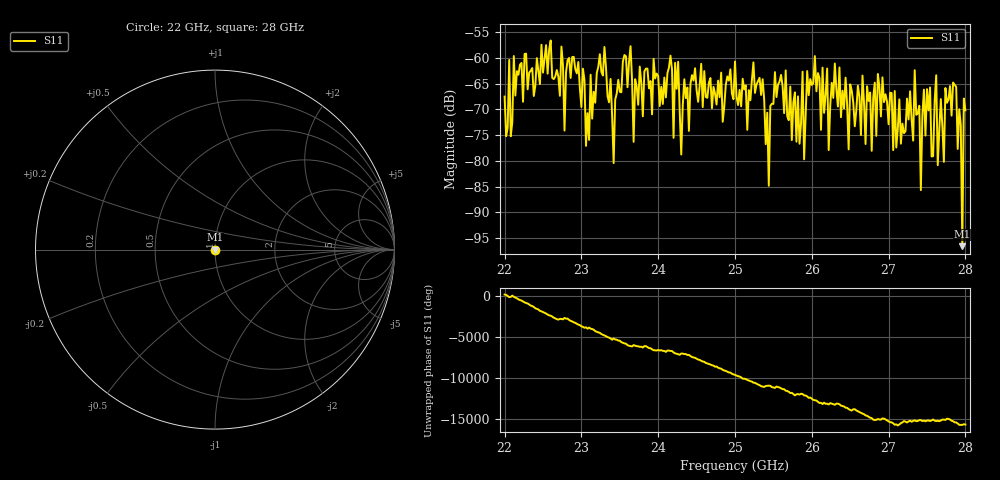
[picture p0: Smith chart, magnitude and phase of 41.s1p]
#  HZ  S  RI  R  50.00
! Rohde & Schwarz ZVA40 4Ports - Version 3.90 - 1145.1110k42 SN: 100403
! Date: 2023-10-04 07:57:09
! Measurement: S12
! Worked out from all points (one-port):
!   301 points, 22 GHz to 28 GHz, reference 50 ohm
!   lowest |S11| = -96.5 dB at 27.96 GHz (marker M1), VSWR 1.00, Z = 50 + j0.00125 ohm
!   |S11| at or under -10 dB: start of sweep to end of sweep
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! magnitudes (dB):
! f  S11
! 22 GHz  -67.5
! 22.76 GHz  -61.5
! 22.78 GHz  -74.1
! 23.02 GHz  -62.1
! 23.06 GHz  -77.1
! 23.3 GHz  -57.9
! 23.42 GHz  -80.4
! 23.5 GHz  -66.6
! 24.16 GHz  -59.6
! 24.2 GHz  -75.5
! 24.26 GHz  -60.8
! 24.3 GHz  -78.7
! 24.34 GHz  -64.1
! 25 GHz  -60.7
! 25.44 GHz  -84.8
! 25.52 GHz  -62.8
! 25.76 GHz  -68.6
! 26.3 GHz  -61.1
! 26.48 GHz  -77.7
! 26.5 GHz  -65.1
! 27.26 GHz  -72.0
! 27.58 GHz  -79.1
! 27.62 GHz  -63.4
! 27.64 GHz  -80.8
! 27.72 GHz  -80.2
! 27.84 GHz  -64.8
! 27.96 GHz  -96.5
! 28 GHz  -70.2
